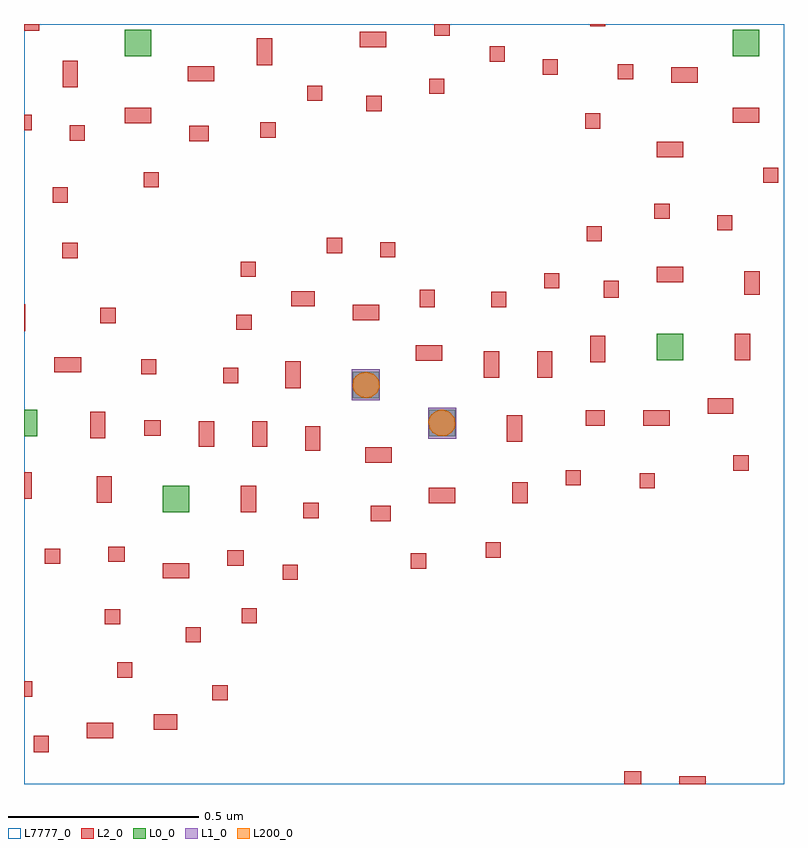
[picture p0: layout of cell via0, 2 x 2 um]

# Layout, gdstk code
import gdstk
lib = gdstk.Library(unit=1e-6, precision=1e-09)
def R(c, l, rs):  # rectangles x0, y0, x1, y1
    for r in rs: c.add(gdstk.rectangle(r[:2], r[2:], *l))
def P(c, l, *ps):  # polygons
    for p in ps: c.add(gdstk.Polygon(p, *l))
L0_0 = (0, 0)
L1_0 = (1, 0)
L2_0 = (2, 0)
L200_0 = (200, 0)
L7777_0 = (7777, 0)

via0 = lib.new_cell('via0')
R(via0, L0_0, [(30.115,75.765,30.185,75.835), (29.75,75.965,29.785,76.035), (30.815,75.965,30.885,76.035), (30.615,76.065,30.685,76.135), (31.415,76.165,31.485,76.235), (30.015,76.965,30.085,77.035), (31.615,76.965,31.685,77.035)])
R(via0, L1_0, [(30.814,75.958,30.888,76.04), (30.612,76.06,30.686,76.142)])
R(via0, L2_0, [(31.33,75.05,31.374,75.083), (31.474,75.05,31.544,75.071), (29.775,75.133,29.815,75.177), (29.915,75.171,29.985,75.211), (30.091,75.193,30.153,75.233), (30.246,75.27,30.286,75.31), (29.75,75.28,29.772,75.32), (29.995,75.33,30.035,75.37), (30.175,75.423,30.215,75.463), (29.963,75.47,30.003,75.51), (30.323,75.473,30.363,75.513), (30.431,75.587,30.471,75.627), (30.115,75.591,30.185,75.631), (30.768,75.617,30.808,75.657), (30.285,75.625,30.328,75.665), (29.805,75.629,29.845,75.669), (29.972,75.635,30.015,75.675), (30.965,75.646,31.005,75.686), (30.663,75.742,30.715,75.782), (30.485,75.75,30.525,75.79), (30.321,75.765,30.361,75.835), (30.815,75.789,30.885,75.829), (31.035,75.789,31.075,75.844), (29.941,75.79,29.981,75.86), (29.75,75.801,29.77,75.871), (31.37,75.828,31.41,75.868), (31.175,75.836,31.215,75.876), (31.617,75.875,31.657,75.915), (30.648,75.896,30.718,75.936), (30.49,75.927,30.53,75.992), (30.21,75.938,30.25,76.004), (30.35,75.938,30.39,76.004), (31.021,75.951,31.061,76.021), (29.924,75.96,29.964,76.03), (30.066,75.967,30.11,76.007), (31.228,75.993,31.278,76.033), (31.379,75.993,31.449,76.033), (31.549,76.025,31.616,76.065), (30.438,76.092,30.478,76.162), (30.274,76.105,30.314,76.145), (30.96,76.119,31,76.189), (31.1,76.119,31.14,76.189), (30.058,76.128,30.098,76.168), (29.83,76.133,29.9,76.173), (31.24,76.16,31.28,76.23), (30.781,76.164,30.851,76.204), (31.621,76.165,31.661,76.235), (29.75,76.242,29.753,76.312), (30.309,76.245,30.349,76.285), (29.951,76.263,29.991,76.303), (30.615,76.271,30.685,76.311), (30.791,76.304,30.831,76.351), (30.979,76.305,31.019,76.345), (30.453,76.307,30.515,76.347), (31.275,76.33,31.315,76.374), (31.646,76.337,31.686,76.399), (31.119,76.354,31.159,76.394), (31.415,76.371,31.485,76.411), (30.32,76.385,30.36,76.425), (29.851,76.434,29.891,76.474), (30.687,76.436,30.727,76.476), (30.547,76.447,30.587,76.487), (31.231,76.478,31.271,76.518), (31.574,76.507,31.614,76.547), (31.408,76.537,31.449,76.577), (29.825,76.58,29.865,76.62), (30.065,76.62,30.105,76.66), (31.695,76.632,31.735,76.672), (31.415,76.7,31.485,76.74), (30.185,76.742,30.236,76.782), (29.87,76.743,29.91,76.783), (30.372,76.751,30.412,76.791), (29.75,76.771,29.77,76.811), (31.227,76.775,31.267,76.815), (30.015,76.789,30.085,76.829), (31.615,76.79,31.685,76.83), (30.651,76.821,30.691,76.861), (30.495,76.848,30.535,76.888), (30.816,76.866,30.856,76.906), (29.852,76.883,29.892,76.953), (31.453,76.896,31.523,76.936), (30.181,76.899,30.251,76.939), (31.313,76.904,31.353,76.944), (31.115,76.917,31.155,76.957), (30.363,76.942,30.403,77.012), (30.975,76.951,31.015,76.991), (30.633,76.989,30.703,77.029), (30.83,77.019,30.87,77.05), (29.75,77.032,29.79,77.05), (31.24,77.044,31.28,77.05)])
P(via0, L200_0, [(30.854,75.965),(30.84,75.967),(30.826,75.975),(30.818,75.985),(30.814,76.003),(30.817,76.013),(30.822,76.022),(30.833,76.031),(30.844,76.035),(30.854,76.035),(30.866,76.031),(30.872,76.027),(30.883,76.013),(30.885,75.994),(30.882,75.985),(30.876,75.976),(30.863,75.967)],
  [(30.651,76.065),(30.637,76.068),(30.624,76.077),(30.618,76.086),(30.615,76.096),(30.617,76.114),(30.623,76.123),(30.633,76.131),(30.651,76.135),(30.669,76.129),(30.676,76.123),(30.683,76.114),(30.686,76.096),(30.679,76.079),(30.664,76.068)])
R(via0, L7777_0, [(29.75,75.05,31.75,77.05)])

lib.write_gds('via0.gds')
